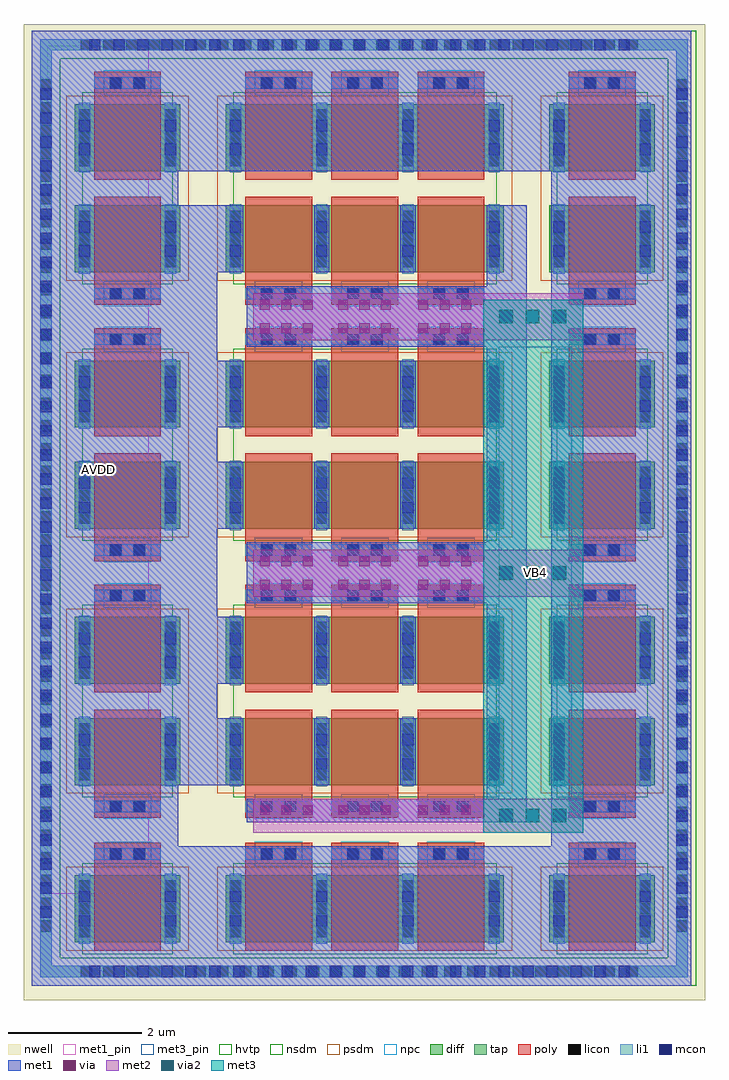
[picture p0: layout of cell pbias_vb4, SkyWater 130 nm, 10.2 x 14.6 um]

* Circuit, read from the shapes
.subckt pbias_vb4 AVDD VB4
XM1 AVDD AVDD AVDD AVDD sky130_fd_pr__pfet_01v8_hvt w=1 l=1 m=20
XM2 n1 VB4 AVDD AVDD sky130_fd_pr__pfet_01v8_hvt w=1 l=1
XM3 n2 VB4 AVDD AVDD sky130_fd_pr__pfet_01v8_hvt w=1 l=1
XM4 n3 VB4 AVDD AVDD sky130_fd_pr__pfet_01v8_hvt w=1 l=1
XM5 n4 VB4 AVDD AVDD sky130_fd_pr__pfet_01v8_hvt w=1 l=1
XM6 n5 VB4 AVDD AVDD sky130_fd_pr__pfet_01v8_hvt w=1 l=1
XM7 n6 VB4 n1 AVDD sky130_fd_pr__pfet_01v8_hvt w=1 l=1
XM8 n7 VB4 n2 AVDD sky130_fd_pr__pfet_01v8_hvt w=1 l=1
XM9 n8 VB4 n3 AVDD sky130_fd_pr__pfet_01v8_hvt w=1 l=1
XM10 n9 VB4 n4 AVDD sky130_fd_pr__pfet_01v8_hvt w=1 l=1
XM11 n10 VB4 n5 AVDD sky130_fd_pr__pfet_01v8_hvt w=1 l=1
XM12 VB4 VB4 n6 AVDD sky130_fd_pr__pfet_01v8_hvt w=1 l=1
XM13 VB4 VB4 n7 AVDD sky130_fd_pr__pfet_01v8_hvt w=1 l=1
XM14 VB4 VB4 n8 AVDD sky130_fd_pr__pfet_01v8_hvt w=1 l=1
XM15 VB4 VB4 n9 AVDD sky130_fd_pr__pfet_01v8_hvt w=1 l=1
XM16 VB4 VB4 n10 AVDD sky130_fd_pr__pfet_01v8_hvt w=1 l=1
.ends

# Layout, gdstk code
import gdstk
lib = gdstk.Library(unit=1e-6, precision=1e-09)
def R(c, l, rs):  # rectangles x0, y0, x1, y1
    for r in rs: c.add(gdstk.rectangle(r[:2], r[2:], *l))
def A(c, l, x, y, w, h, nx, ny, dx, dy):  # array of equal rectangles
    R(c, l, [(x+i*dx, y+j*dy, x+i*dx+w, y+j*dy+h) for i in range(nx) for j in range(ny)])
nwell = (64, 20)
diff = (65, 20)
tap = (65, 44)
poly = (66, 20)
licon = (66, 44)
li1 = (67, 20)
mcon = (67, 44)
met1_pin = (68, 16)
met1 = (68, 20)
via = (68, 44)
met2 = (69, 20)
via2 = (69, 44)
met3_pin = (70, 16)
met3 = (70, 20)
hvtp = (78, 44)
nsdm = (93, 44)
psdm = (94, 20)
npc = (95, 20)

pbias_vb4 = lib.new_cell('pbias_vb4')
R(pbias_vb4, nwell, [(4.03,-12.06,14.23,2.54)])
R(pbias_vb4, diff, [(4.795,-11.195,6.375,-10.195), (7.055,-11.195,11.215,-10.195), (11.895,-11.195,13.475,-10.195), (4.795,-8.845,6.375,-7.845), (7.055,-8.845,11.215,-7.845), (11.895,-8.845,13.475,-7.845), (4.795,-7.33,6.375,-6.33), (7.055,-7.33,11.215,-6.33), (11.895,-7.33,13.475,-6.33), (4.795,-5.01,6.375,-4.01), (7.055,-5.01,11.215,-4.01), (11.895,-5.01,13.475,-4.01), (4.795,-3.495,6.375,-2.495), (7.055,-3.495,11.215,-2.495), (11.895,-3.495,13.475,-2.495), (4.795,-1.175,6.375,-0.175), (7.055,-1.175,11.215,-0.175), (11.895,-1.175,13.475,-0.175), (4.795,0.34,6.375,1.34), (7.055,0.34,11.215,1.34), (11.895,0.34,13.475,1.34)])
R(pbias_vb4, tap, [(4.28,-11.72,13.965,-11.55), (4.28,-11.55,4.45,2.145), (13.795,-11.55,13.965,2.145), (4.28,2.145,13.965,2.315)])
A(pbias_vb4, poly, 7.345, -11.325, 1, 1.615, 3, 2, 1.29, 1.995)
A(pbias_vb4, poly, 7.345, -7.46, 1, 1.615, 3, 2, 1.29, 1.965)
A(pbias_vb4, poly, 7.345, -3.625, 1, 1.615, 3, 2, 1.29, 1.965)
A(pbias_vb4, poly, 7.345, 0.21, 1, 1.615, 3, 1, 1.29, 0)
R(pbias_vb4, poly, [(5.085,-11.325,6.085,-9.71), (12.185,-11.325,13.185,-9.71), (5.085,-9.33,6.085,-7.715), (12.185,-9.33,13.185,-7.715), (5.085,-7.46,6.085,-5.845), (12.185,-7.46,13.185,-5.845), (5.085,-5.495,6.085,-3.88), (12.185,-5.495,13.185,-3.88), (5.085,-3.625,6.085,-2.01), (12.185,-3.625,13.185,-2.01), (5.085,-1.66,6.085,-0.045), (12.185,-1.66,13.185,-0.045), (5.085,0.21,6.085,1.825), (12.185,0.21,13.185,1.825)])
A(pbias_vb4, licon, 4.885, -11.72, 0.17, 0.17, 25, 2, 0.34, 13.865)
A(pbias_vb4, licon, 4.855, -11.12, 0.17, 0.17, 1, 3, 0, 0.34)
A(pbias_vb4, licon, 6.145, -11.12, 0.17, 0.17, 1, 3, 0, 0.34)
A(pbias_vb4, licon, 7.115, -11.12, 0.17, 0.17, 4, 3, 1.29, 0.34)
A(pbias_vb4, licon, 11.955, -11.12, 0.17, 0.17, 1, 3, 0, 0.34)
A(pbias_vb4, licon, 13.245, -11.12, 0.17, 0.17, 1, 3, 0, 0.34)
A(pbias_vb4, licon, 4.28, -11.04, 0.17, 0.17, 1, 38, 0, 0.34)
A(pbias_vb4, licon, 13.795, -11.04, 0.17, 0.17, 1, 38, 0, 0.34)
A(pbias_vb4, licon, 4.855, -8.77, 0.17, 0.17, 1, 3, 0, 0.34)
A(pbias_vb4, licon, 6.145, -8.77, 0.17, 0.17, 1, 3, 0, 0.34)
A(pbias_vb4, licon, 7.115, -8.77, 0.17, 0.17, 4, 3, 1.29, 0.34)
A(pbias_vb4, licon, 11.955, -8.77, 0.17, 0.17, 1, 3, 0, 0.34)
A(pbias_vb4, licon, 13.245, -8.77, 0.17, 0.17, 1, 3, 0, 0.34)
A(pbias_vb4, licon, 4.855, -7.255, 0.17, 0.17, 1, 3, 0, 0.34)
A(pbias_vb4, licon, 6.145, -7.255, 0.17, 0.17, 1, 3, 0, 0.34)
A(pbias_vb4, licon, 7.115, -7.255, 0.17, 0.17, 4, 3, 1.29, 0.34)
A(pbias_vb4, licon, 11.955, -7.255, 0.17, 0.17, 1, 3, 0, 0.34)
A(pbias_vb4, licon, 13.245, -7.255, 0.17, 0.17, 1, 3, 0, 0.34)
A(pbias_vb4, licon, 4.855, -4.935, 0.17, 0.17, 1, 3, 0, 0.34)
A(pbias_vb4, licon, 6.145, -4.935, 0.17, 0.17, 1, 3, 0, 0.34)
A(pbias_vb4, licon, 7.115, -4.935, 0.17, 0.17, 4, 3, 1.29, 0.34)
A(pbias_vb4, licon, 11.955, -4.935, 0.17, 0.17, 1, 3, 0, 0.34)
A(pbias_vb4, licon, 13.245, -4.935, 0.17, 0.17, 1, 3, 0, 0.34)
A(pbias_vb4, licon, 4.855, -3.42, 0.17, 0.17, 1, 3, 0, 0.34)
A(pbias_vb4, licon, 6.145, -3.42, 0.17, 0.17, 1, 3, 0, 0.34)
A(pbias_vb4, licon, 7.115, -3.42, 0.17, 0.17, 4, 3, 1.29, 0.34)
A(pbias_vb4, licon, 11.955, -3.42, 0.17, 0.17, 1, 3, 0, 0.34)
A(pbias_vb4, licon, 13.245, -3.42, 0.17, 0.17, 1, 3, 0, 0.34)
A(pbias_vb4, licon, 4.855, -1.1, 0.17, 0.17, 1, 3, 0, 0.34)
A(pbias_vb4, licon, 6.145, -1.1, 0.17, 0.17, 1, 3, 0, 0.34)
A(pbias_vb4, licon, 7.115, -1.1, 0.17, 0.17, 4, 3, 1.29, 0.34)
A(pbias_vb4, licon, 11.955, -1.1, 0.17, 0.17, 1, 3, 0, 0.34)
A(pbias_vb4, licon, 13.245, -1.1, 0.17, 0.17, 1, 3, 0, 0.34)
A(pbias_vb4, licon, 4.855, 0.415, 0.17, 0.17, 1, 3, 0, 0.34)
A(pbias_vb4, licon, 6.145, 0.415, 0.17, 0.17, 1, 3, 0, 0.34)
A(pbias_vb4, licon, 7.115, 0.415, 0.17, 0.17, 4, 3, 1.29, 0.34)
A(pbias_vb4, licon, 11.955, 0.415, 0.17, 0.17, 1, 3, 0, 0.34)
A(pbias_vb4, licon, 13.245, 0.415, 0.17, 0.17, 1, 3, 0, 0.34)
R(pbias_vb4, licon, [(5.33,-9.96,5.5,-9.79), (5.67,-9.96,5.84,-9.79), (7.59,-9.96,7.76,-9.79), (7.93,-9.96,8.1,-9.79), (8.88,-9.96,9.05,-9.79), (9.22,-9.96,9.39,-9.79), (10.17,-9.96,10.34,-9.79), (10.51,-9.96,10.68,-9.79), (12.43,-9.96,12.6,-9.79), (12.77,-9.96,12.94,-9.79), (5.33,-9.25,5.5,-9.08), (5.67,-9.25,5.84,-9.08), (7.59,-9.25,7.76,-9.08), (7.93,-9.25,8.1,-9.08), (8.88,-9.25,9.05,-9.08), (9.22,-9.25,9.39,-9.08), (10.17,-9.25,10.34,-9.08), (10.51,-9.25,10.68,-9.08), (12.43,-9.25,12.6,-9.08), (12.77,-9.25,12.94,-9.08), (5.33,-6.095,5.5,-5.925), (5.67,-6.095,5.84,-5.925), (7.59,-6.095,7.76,-5.925), (7.93,-6.095,8.1,-5.925), (8.88,-6.095,9.05,-5.925), (9.22,-6.095,9.39,-5.925), (10.17,-6.095,10.34,-5.925), (10.51,-6.095,10.68,-5.925), (12.43,-6.095,12.6,-5.925), (12.77,-6.095,12.94,-5.925), (5.33,-5.415,5.5,-5.245), (5.67,-5.415,5.84,-5.245), (7.59,-5.415,7.76,-5.245), (7.93,-5.415,8.1,-5.245), (8.88,-5.415,9.05,-5.245), (9.22,-5.415,9.39,-5.245), (10.17,-5.415,10.34,-5.245), (10.51,-5.415,10.68,-5.245), (12.43,-5.415,12.6,-5.245), (12.77,-5.415,12.94,-5.245), (5.33,-2.26,5.5,-2.09), (5.67,-2.26,5.84,-2.09), (7.59,-2.26,7.76,-2.09), (7.93,-2.26,8.1,-2.09), (8.88,-2.26,9.05,-2.09), (9.22,-2.26,9.39,-2.09), (10.17,-2.26,10.34,-2.09), (10.51,-2.26,10.68,-2.09), (12.43,-2.26,12.6,-2.09), (12.77,-2.26,12.94,-2.09), (5.33,-1.58,5.5,-1.41), (5.67,-1.58,5.84,-1.41), (7.59,-1.58,7.76,-1.41), (7.93,-1.58,8.1,-1.41), (8.88,-1.58,9.05,-1.41), (9.22,-1.58,9.39,-1.41), (10.17,-1.58,10.34,-1.41), (10.51,-1.58,10.68,-1.41), (12.43,-1.58,12.6,-1.41), (12.77,-1.58,12.94,-1.41), (5.33,1.575,5.5,1.745), (5.67,1.575,5.84,1.745), (7.59,1.575,7.76,1.745), (7.93,1.575,8.1,1.745), (8.88,1.575,9.05,1.745), (9.22,1.575,9.39,1.745), (10.17,1.575,10.34,1.745), (10.51,1.575,10.68,1.745), (12.43,1.575,12.6,1.745), (12.77,1.575,12.94,1.745)])
A(pbias_vb4, li1, 7.115, -11.215, 0.17, 1.04, 4, 2, 1.29, 2.35)
A(pbias_vb4, li1, 7.345, -9.96, 1, 0.17, 3, 2, 1.29, 0.71)
A(pbias_vb4, li1, 7.115, -7.35, 0.17, 1.04, 4, 2, 1.29, 2.32)
A(pbias_vb4, li1, 7.345, -6.095, 1, 0.17, 3, 2, 1.29, 0.68)
A(pbias_vb4, li1, 7.115, -3.515, 0.17, 1.04, 4, 2, 1.29, 2.32)
A(pbias_vb4, li1, 7.345, -2.26, 1, 0.17, 3, 2, 1.29, 0.68)
A(pbias_vb4, li1, 7.115, 0.32, 0.17, 1.04, 4, 1, 1.29, 0)
A(pbias_vb4, li1, 7.345, 1.575, 1, 0.17, 3, 1, 1.29, 0)
R(pbias_vb4, li1, [(4.28,-11.72,13.965,-11.55), (4.28,-11.55,4.45,2.145), (13.795,-11.55,13.965,2.145), (4.855,-11.215,5.025,-10.175), (6.145,-11.215,6.315,-10.175), (11.955,-11.215,12.125,-10.175), (13.245,-11.215,13.415,-10.175), (5.085,-9.96,6.085,-9.79), (12.185,-9.96,13.185,-9.79), (5.085,-9.25,6.085,-9.08), (12.185,-9.25,13.185,-9.08), (4.855,-8.865,5.025,-7.825), (6.145,-8.865,6.315,-7.825), (11.955,-8.865,12.125,-7.825), (13.245,-8.865,13.415,-7.825), (4.855,-7.35,5.025,-6.31), (6.145,-7.35,6.315,-6.31), (11.955,-7.35,12.125,-6.31), (13.245,-7.35,13.415,-6.31), (5.085,-6.095,6.085,-5.925), (12.185,-6.095,13.185,-5.925), (5.085,-5.415,6.085,-5.245), (12.185,-5.415,13.185,-5.245), (4.855,-5.03,5.025,-3.99), (6.145,-5.03,6.315,-3.99), (11.955,-5.03,12.125,-3.99), (13.245,-5.03,13.415,-3.99), (4.855,-3.515,5.025,-2.475), (6.145,-3.515,6.315,-2.475), (11.955,-3.515,12.125,-2.475), (13.245,-3.515,13.415,-2.475), (5.085,-2.26,6.085,-2.09), (12.185,-2.26,13.185,-2.09), (5.085,-1.58,6.085,-1.41), (12.185,-1.58,13.185,-1.41), (4.855,-1.195,5.025,-0.155), (6.145,-1.195,6.315,-0.155), (11.955,-1.195,12.125,-0.155), (13.245,-1.195,13.415,-0.155), (4.855,0.32,5.025,1.36), (6.145,0.32,6.315,1.36), (11.955,0.32,12.125,1.36), (13.245,0.32,13.415,1.36), (5.085,1.575,6.085,1.745), (12.185,1.575,13.185,1.745), (4.28,2.145,13.965,2.315)])
A(pbias_vb4, mcon, 5.01, -11.72, 0.17, 0.17, 23, 2, 0.36, 13.865)
A(pbias_vb4, mcon, 7.115, -10.96, 0.17, 0.17, 4, 2, 1.29, 0.36)
A(pbias_vb4, mcon, 4.28, -10.83, 0.17, 0.17, 1, 35, 0, 0.36)
A(pbias_vb4, mcon, 13.795, -10.83, 0.17, 0.17, 1, 35, 0, 0.36)
A(pbias_vb4, mcon, 7.115, -8.61, 0.17, 0.17, 4, 2, 1.29, 0.36)
A(pbias_vb4, mcon, 7.115, -7.095, 0.17, 0.17, 4, 2, 1.29, 0.36)
A(pbias_vb4, mcon, 7.115, -4.775, 0.17, 0.17, 4, 2, 1.29, 0.36)
A(pbias_vb4, mcon, 7.115, -3.26, 0.17, 0.17, 4, 2, 1.29, 0.36)
A(pbias_vb4, mcon, 7.115, -0.94, 0.17, 0.17, 4, 2, 1.29, 0.36)
A(pbias_vb4, mcon, 7.115, 0.575, 0.17, 0.17, 4, 2, 1.29, 0.36)
R(pbias_vb4, mcon, [(4.855,-10.96,5.025,-10.79), (6.145,-10.96,6.315,-10.79), (11.955,-10.96,12.125,-10.79), (13.245,-10.96,13.415,-10.79), (4.855,-10.6,5.025,-10.43), (6.145,-10.6,6.315,-10.43), (11.955,-10.6,12.125,-10.43), (13.245,-10.6,13.415,-10.43), (5.32,-9.96,5.49,-9.79), (5.68,-9.96,5.85,-9.79), (7.58,-9.96,7.75,-9.79), (7.94,-9.96,8.11,-9.79), (8.87,-9.96,9.04,-9.79), (9.23,-9.96,9.4,-9.79), (10.16,-9.96,10.33,-9.79), (10.52,-9.96,10.69,-9.79), (12.42,-9.96,12.59,-9.79), (12.78,-9.96,12.95,-9.79), (5.32,-9.25,5.49,-9.08), (5.68,-9.25,5.85,-9.08), (7.58,-9.25,7.75,-9.08), (7.94,-9.25,8.11,-9.08), (8.87,-9.25,9.04,-9.08), (9.23,-9.25,9.4,-9.08), (10.16,-9.25,10.33,-9.08), (10.52,-9.25,10.69,-9.08), (12.42,-9.25,12.59,-9.08), (12.78,-9.25,12.95,-9.08), (4.855,-8.61,5.025,-8.44), (6.145,-8.61,6.315,-8.44), (11.955,-8.61,12.125,-8.44), (13.245,-8.61,13.415,-8.44), (4.855,-8.25,5.025,-8.08), (6.145,-8.25,6.315,-8.08), (11.955,-8.25,12.125,-8.08), (13.245,-8.25,13.415,-8.08), (4.855,-7.095,5.025,-6.925), (6.145,-7.095,6.315,-6.925), (11.955,-7.095,12.125,-6.925), (13.245,-7.095,13.415,-6.925), (4.855,-6.735,5.025,-6.565), (6.145,-6.735,6.315,-6.565), (11.955,-6.735,12.125,-6.565), (13.245,-6.735,13.415,-6.565), (5.32,-6.095,5.49,-5.925), (5.68,-6.095,5.85,-5.925), (7.58,-6.095,7.75,-5.925), (7.94,-6.095,8.11,-5.925), (8.87,-6.095,9.04,-5.925), (9.23,-6.095,9.4,-5.925), (10.16,-6.095,10.33,-5.925), (10.52,-6.095,10.69,-5.925), (12.42,-6.095,12.59,-5.925), (12.78,-6.095,12.95,-5.925), (5.32,-5.415,5.49,-5.245), (5.68,-5.415,5.85,-5.245), (7.58,-5.415,7.75,-5.245), (7.94,-5.415,8.11,-5.245), (8.87,-5.415,9.04,-5.245), (9.23,-5.415,9.4,-5.245), (10.16,-5.415,10.33,-5.245), (10.52,-5.415,10.69,-5.245), (12.42,-5.415,12.59,-5.245), (12.78,-5.415,12.95,-5.245), (4.855,-4.775,5.025,-4.605), (6.145,-4.775,6.315,-4.605), (11.955,-4.775,12.125,-4.605), (13.245,-4.775,13.415,-4.605), (4.855,-4.415,5.025,-4.245), (6.145,-4.415,6.315,-4.245), (11.955,-4.415,12.125,-4.245), (13.245,-4.415,13.415,-4.245), (4.855,-3.26,5.025,-3.09), (6.145,-3.26,6.315,-3.09), (11.955,-3.26,12.125,-3.09), (13.245,-3.26,13.415,-3.09), (4.855,-2.9,5.025,-2.73), (6.145,-2.9,6.315,-2.73), (11.955,-2.9,12.125,-2.73), (13.245,-2.9,13.415,-2.73), (5.32,-2.26,5.49,-2.09), (5.68,-2.26,5.85,-2.09), (7.58,-2.26,7.75,-2.09), (7.94,-2.26,8.11,-2.09), (8.87,-2.26,9.04,-2.09), (9.23,-2.26,9.4,-2.09), (10.16,-2.26,10.33,-2.09), (10.52,-2.26,10.69,-2.09), (12.42,-2.26,12.59,-2.09), (12.78,-2.26,12.95,-2.09), (5.32,-1.58,5.49,-1.41), (5.68,-1.58,5.85,-1.41), (7.58,-1.58,7.75,-1.41), (7.94,-1.58,8.11,-1.41), (8.87,-1.58,9.04,-1.41), (9.23,-1.58,9.4,-1.41), (10.16,-1.58,10.33,-1.41), (10.52,-1.58,10.69,-1.41), (12.42,-1.58,12.59,-1.41), (12.78,-1.58,12.95,-1.41), (4.855,-0.94,5.025,-0.77), (6.145,-0.94,6.315,-0.77), (11.955,-0.94,12.125,-0.77), (13.245,-0.94,13.415,-0.77), (4.855,-0.58,5.025,-0.41), (6.145,-0.58,6.315,-0.41), (11.955,-0.58,12.125,-0.41), (13.245,-0.58,13.415,-0.41), (4.855,0.575,5.025,0.745), (6.145,0.575,6.315,0.745), (11.955,0.575,12.125,0.745), (13.245,0.575,13.415,0.745), (4.855,0.935,5.025,1.105), (6.145,0.935,6.315,1.105), (11.955,0.935,12.125,1.105), (13.245,0.935,13.415,1.105), (5.32,1.575,5.49,1.745), (5.68,1.575,5.85,1.745), (7.58,1.575,7.75,1.745), (7.94,1.575,8.11,1.745), (8.87,1.575,9.04,1.745), (9.23,1.575,9.4,1.745), (10.16,1.575,10.33,1.745), (10.52,1.575,10.69,1.745), (12.42,1.575,12.59,1.745), (12.78,1.575,12.95,1.745)])
R(pbias_vb4, met1_pin, [(4.385,-10.47,5.905,2.215)])
R(pbias_vb4, met1, [(4.155,-11.845,14.02,-9.76), (4.155,-9.76,6.345,-8.845), (11.925,-9.76,14.02,0.34), (7.365,-9.4,11.555,-9.05), (10.955,-9.05,11.555,-6.125), (4.155,-8.845,7.315,-7.845), (8.375,-8.845,8.605,-7.845), (9.665,-8.845,9.895,-7.845), (4.155,-7.845,6.93,-7.33), (4.155,-7.33,7.315,-6.33), (8.375,-7.33,8.605,-6.33), (9.665,-7.33,9.895,-6.33), (4.155,-6.33,6.93,-5.01), (7.365,-6.125,11.555,-5.215), (10.955,-5.215,11.555,-2.29), (4.155,-5.01,7.315,-4.01), (8.375,-5.01,8.605,-4.01), (9.665,-5.01,9.895,-4.01), (4.155,-4.01,6.93,-3.495), (4.155,-3.495,7.315,-2.495), (8.375,-3.495,8.605,-2.495), (9.665,-3.495,9.895,-2.495), (4.155,-2.495,6.93,-1.175), (7.365,-2.29,11.555,-1.38), (10.955,-1.38,11.555,-0.175), (4.155,-1.175,7.315,-0.175), (8.375,-1.175,8.605,-0.175), (9.665,-1.175,9.895,-0.175), (4.155,-0.175,6.345,0.34), (4.155,0.34,14.02,2.44)])
A(pbias_vb4, via, 7.565, -9.295, 0.15, 0.15, 3, 2, 0.32, 3.375)
A(pbias_vb4, via, 8.735, -9.295, 0.15, 0.15, 3, 2, 0.32, 3.375)
A(pbias_vb4, via, 9.935, -9.295, 0.15, 0.15, 3, 2, 0.32, 3.375)
A(pbias_vb4, via, 7.565, -5.57, 0.15, 0.15, 3, 2, 0.32, 3.485)
A(pbias_vb4, via, 8.735, -5.57, 0.15, 0.15, 3, 2, 0.32, 3.485)
A(pbias_vb4, via, 9.935, -5.57, 0.15, 0.15, 3, 2, 0.32, 3.485)
A(pbias_vb4, via, 7.565, -1.735, 0.15, 0.15, 3, 1, 0.32, 0)
A(pbias_vb4, via, 8.735, -1.735, 0.15, 0.15, 3, 1, 0.32, 0)
A(pbias_vb4, via, 9.935, -1.735, 0.15, 0.15, 3, 1, 0.32, 0)
R(pbias_vb4, met2, [(7.465,-9.555,12.405,-9.05), (7.465,-6.025,12.405,-5.325), (7.465,-2.19,12.405,-1.49)])
A(pbias_vb4, via2, 11.145, -9.4, 0.2, 0.2, 3, 2, 0.4, 3.63)
A(pbias_vb4, via2, 11.145, -1.935, 0.2, 0.2, 3, 1, 0.4, 0)
R(pbias_vb4, met3_pin, [(11.135,-9.055,12.23,-2.29)])
R(pbias_vb4, met3, [(10.905,-9.555,12.405,-1.585)])
A(pbias_vb4, hvtp, 4.905, -9.025, 1.36, 2.875, 1, 3, 0, 3.835)
A(pbias_vb4, hvtp, 7.165, -9.025, 3.94, 2.875, 1, 3, 0, 3.835)
A(pbias_vb4, hvtp, 12.005, -9.025, 1.36, 2.875, 1, 3, 0, 3.835)
R(pbias_vb4, hvtp, [(4.905,-11.375,6.265,-10.015), (7.165,-11.375,11.105,-10.015), (12.005,-11.375,13.365,-10.015)])
R(pbias_vb4, nsdm, [(4.155,-11.845,14.09,-11.425), (4.155,-11.425,4.575,2.02), (13.67,-11.425,14.09,2.02), (4.155,2.02,14.09,2.44)])
A(pbias_vb4, psdm, 4.67, -8.97, 1.83, 2.765, 1, 3, 0, 3.835)
A(pbias_vb4, psdm, 6.93, -8.97, 4.41, 2.765, 1, 3, 0, 3.835)
A(pbias_vb4, psdm, 11.77, -8.97, 1.83, 2.765, 1, 3, 0, 3.835)
R(pbias_vb4, psdm, [(4.67,-11.32,6.5,-10.07), (6.93,-11.32,11.34,-10.07), (11.77,-11.32,13.6,-10.07)])
A(pbias_vb4, npc, 7.49, -10.06, 0.71, 0.37, 3, 2, 1.29, 0.71)
A(pbias_vb4, npc, 7.49, -6.195, 0.71, 0.37, 3, 2, 1.29, 0.68)
A(pbias_vb4, npc, 7.49, -2.36, 0.71, 0.37, 3, 2, 1.29, 0.68)
A(pbias_vb4, npc, 7.49, 1.475, 0.71, 0.37, 3, 1, 1.29, 0)
R(pbias_vb4, npc, [(5.23,-10.06,5.94,-9.69), (12.33,-10.06,13.04,-9.69), (5.23,-9.35,5.94,-8.98), (12.33,-9.35,13.04,-8.98), (5.23,-6.195,5.94,-5.825), (12.33,-6.195,13.04,-5.825), (5.23,-5.515,5.94,-5.145), (12.33,-5.515,13.04,-5.145), (5.23,-2.36,5.94,-1.99), (12.33,-2.36,13.04,-1.99), (5.23,-1.68,5.94,-1.31), (12.33,-1.68,13.04,-1.31), (5.23,1.475,5.94,1.845), (12.33,1.475,13.04,1.845)])
pbias_vb4.add(gdstk.Label('VB4', (11.682,-5.672), layer=70, texttype=5))
pbias_vb4.add(gdstk.Label('AVDD', (5.145,-4.127), layer=68, texttype=5))

lib.write_gds('pbias_vb4.gds')
